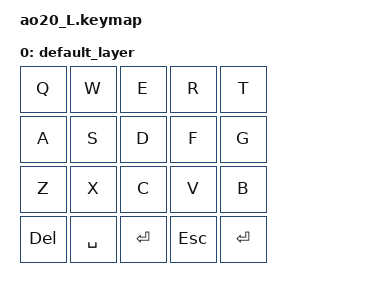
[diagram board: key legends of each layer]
#include <behaviors.dtsi>
#include <dt-bindings/zmk/keys.h>

/ {
    keymap {
        compatible = "zmk,keymap";

        default_layer {
            bindings = <
                &kp Q    &kp W    &kp E     &kp R     &kp T     
                &kp A    &kp S    &kp D     &kp F     &kp G     
                &kp Z    &kp X    &kp C     &kp V     &kp B     
                &kp DEL  &kp SPACE &kp RET  &kp ESC   &kp RET   
            >;
        };
    };
};



